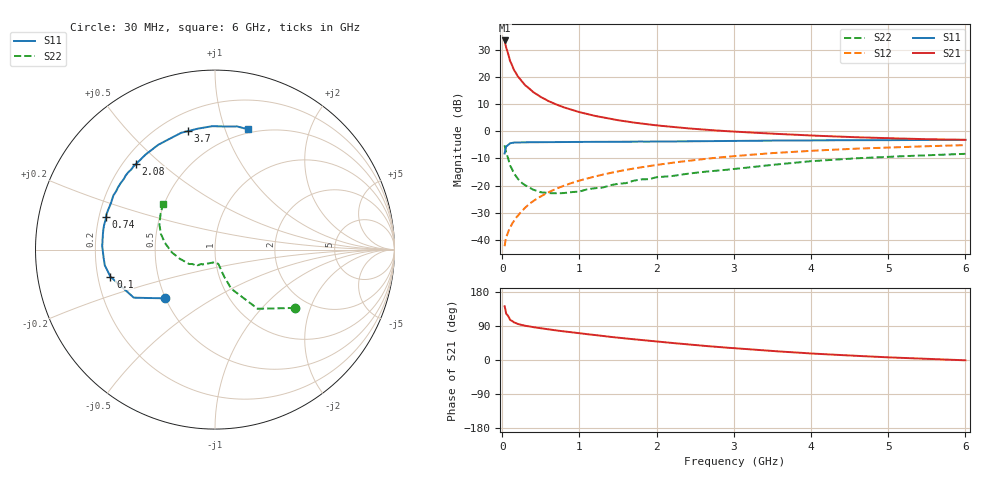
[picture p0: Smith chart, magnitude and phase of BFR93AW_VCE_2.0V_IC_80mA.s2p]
! Infineon Technologies  Discrete & RF Semiconductors
! BFR93AW
! VCE =  2.0 V,  IC =  80 mA
! Common Emitter S-Parameters:  Nov 2015
# GHz  S  MA  R  50
!  f  S11  S21  S12  S22
! GHz  MAG  ANG  MAG  ANG  MAG  ANG  MAG  ANG
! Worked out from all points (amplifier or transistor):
!   206 points, 30 MHz to 6 GHz, reference 50 ohm
!   highest |S21| = 33.5 dB at 30 MHz (marker M1)
!   |S21| within 3 dB of that: start of sweep to 54.7 MHz
!   unconditionally stable (mu >= 1): 124.1 MHz to end of sweep
!   at 200 MHz: K = 1.14, MAG = 23.5 dB, |S12| = -31.2 dB
!   at 1.56 GHz: K = 1.16, MAG = 6.7 dB, |S12| = -14.4 dB
!   at 6 GHz: K = 1.02, MAG = 0.2 dB, |S12| = -5.1 dB
!   S11 on the Smith chart (normalised r, x): 30 MHz: 0.50, -0.32; 100 MHz: 0.25, -0.12; 740 MHz: 0.23, +0.14; 2.08 GHz: 0.25, +0.42; 3.7 GHz: 0.31, +0.75; 6 GHz: 0.46, +1.20
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0.03  0.3899 -135.9  47.58 141.8  0.0076 62.3  0.5514 -36.1
0.05  0.5259 -149.4  35.18 122.2  0.0111 59.9  0.4064 -54.2
0.1  0.602 -165.5  20.01 106.0  0.0167 64.7  0.2367 -67.3
0.15  0.6203 -171.9  13.68 99.4  0.0222 67.9  0.1679 -70.8
0.2  0.6226 -176.3  10.41 95.2  0.0277 71.5  0.1338 -72.5
0.24  0.625 -179.0  8.779 93.1  0.0322 72.9  0.1164 -73.4
0.26  0.6263 179.9  8.1 92.1  0.0345 73.4  0.1098 -73.8
0.3  0.6287 178.2  7.017 90.2  0.0395 74.0  0.1005 -74.3
0.4  0.6298 173.8  5.303 86.6  0.0515 75.3  0.0839 -76.3
0.5  0.6317 170.4  4.29 83.5  0.0631 75.5  0.0751 -81.4
0.6  0.6329 167.7  3.608 80.8  0.0752 75.6  0.0725 -85.2
0.74  0.6331 163.4  2.983 77.0  0.0922 74.8  0.072 -94.2
0.9  0.6353 159.2  2.487 73.0  0.1114 74.1  0.0756 -102.4
1.04  0.6354 155.6  2.189 69.6  0.1281 72.6  0.0804 -110.6
1.4  0.6423 147.2  1.7 61.1  0.1706 69.3  0.1014 -127.2
2.02  0.6492 133.8  1.281 48.3  0.2424 62.5  0.1432 -143.6
2.08  0.6493 132.6  1.256 47.2  0.2494 61.8  0.1453 -145.0
3.1  0.6664 113.0  0.972 29.6  0.3579 49.5  0.2088 -167.6
3.7  0.6772 102.9  0.878 21.2  0.4129 42.1  0.2557 178.8
4.1  0.6812 96.8  0.827 16.2  0.4449 37.2  0.2873 170.5
5.1  0.6891 84.3  0.741 6.2  0.5089 25.9  0.3439 153.7
6  0.6948 74.8  0.698 -0.8  0.5576 16.8  0.3846 138.9
